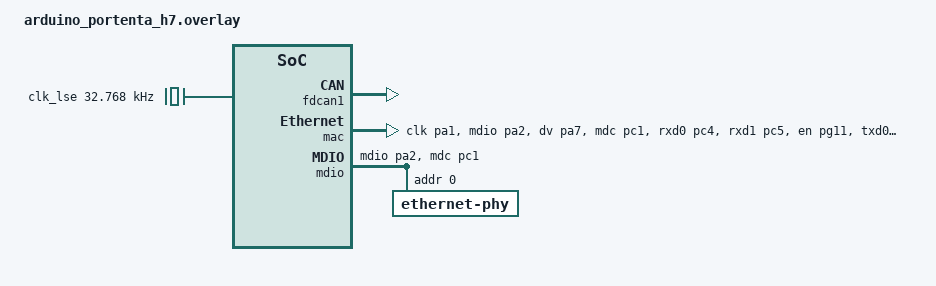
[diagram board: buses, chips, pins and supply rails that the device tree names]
/*
 * Copyright (c) 2025, COVESA
 *
 * Redistribution and use in source and binary forms, with or without
 * modification, are permitted provided that the following conditions are met:
 *
 *    * Redistributions of source code must retain the above copyright notice,
 *      this list of conditions and the following disclaimer.
 *    * Redistributions in binary form must reproduce the above copyright
 *      notice, this list of conditions and the following disclaimer in the
 *      documentation and/or other materials provided with the distribution.
 *    * Neither the name of COVESA nor the names of its contributors may be
 *      used to endorse or promote products derived from this software without
 *      specific prior written permission.
 *
 * THIS SOFTWARE IS PROVIDED BY THE COPYRIGHT HOLDERS AND CONTRIBUTORS "AS IS"
 * AND ANY EXPRESS OR IMPLIED WARRANTIES, INCLUDING, BUT NOT LIMITED TO, THE
 * IMPLIED WARRANTIES OF MERCHANTABILITY AND FITNESS FOR A PARTICULAR PURPOSE ARE
 * DISCLAIMED. IN NO EVENT SHALL THE COPYRIGHT OWNER OR CONTRIBUTORS BE LIABLE
 * FOR ANY DIRECT, INDIRECT, INCIDENTAL, SPECIAL, EXEMPLARY, OR CONSEQUENTIAL
 * DAMAGES (INCLUDING, BUT NOT LIMITED TO, PROCUREMENT OF SUBSTITUTE GOODS OR
 * SERVICES; LOSS OF USE, DATA, OR PROFITS; OR BUSINESS INTERRUPTION) HOWEVER
 * CAUSED AND ON ANY THEORY OF LIABILITY, WHETHER IN CONTRACT, STRICT LIABILITY,
 * OR TORT (INCLUDING NEGLIGENCE OR OTHERWISE) ARISING IN ANY WAY OUT OF THE USE
 * OF THIS SOFTWARE, EVEN IF ADVISED OF THE POSSIBILITY OF SUCH DAMAGE.
 *
 * SPDX-License-Identifier: BSD-3-Clause
 */

&clk_lse {
        clock-frequency = <32768>;
        status = "okay";
};

/{
    chosen{
                zephyr,canbus = &fdcan1;
        };
};
&fdcan1 {
    status = "okay";
};
&mac {
    status = "okay";
    pinctrl-names = "default";
    pinctrl-0 = <&eth_ref_clk_pa1
               &eth_mdio_pa2
               &eth_crs_dv_pa7
               &eth_mdc_pc1
               &eth_rxd0_pc4
               &eth_rxd1_pc5
               &eth_tx_en_pg11
               &eth_txd0_pg13
               &eth_txd1_pg12>;
};
&mdio {
    compatible = "st,stm32-mdio";
    #address-cells = < 0x1 >;
    #size-cells = < 0x0 >;
    status = "okay";
    pinctrl-0 = < &eth_mdio_pa2 &eth_mdc_pc1 >;
    pinctrl-names = "default";
    ethernet-phy@0 {
        compatible = "ethernet-phy";
        reg = < 0x0 >;
        status = "okay";
    };
};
